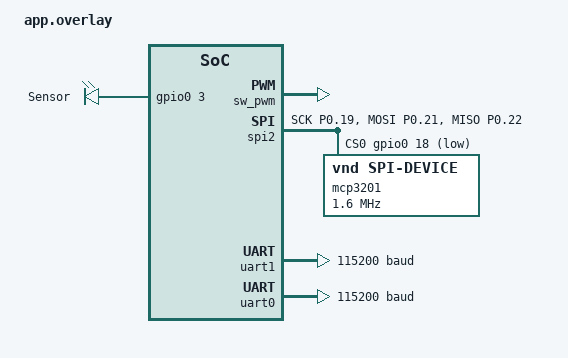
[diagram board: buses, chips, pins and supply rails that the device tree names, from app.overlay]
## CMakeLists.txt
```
# SPDX-License-Identifier: Apache-2.0

cmake_minimum_required(VERSION 3.20.0)
find_package(Zephyr REQUIRED HINTS $ENV{ZEPHYR_BASE})
project(threads)

target_sources(app PRIVATE src/pwm.c)
```

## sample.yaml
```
sample:
  name: Blink LED (PWM based)
tests:
  sample.basic.blink_led:
    tags:
      - drivers
      - pwm
    depends_on: pwm
    harness: led
```

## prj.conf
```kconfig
CONFIG_STDOUT_CONSOLE=y
CONFIG_PRINTK=y
CONFIG_PWM=y
CONFIG_LOG=y
CONFIG_LOG_PRINTK=y
CONFIG_LOG_MODE_IMMEDIATE=y
CONFIG_PWM_LOG_LEVEL_DBG=y
CONFIG_GPIO=y
CONFIG_SPI=y
```

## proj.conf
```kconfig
# Increased stack due to settings API usage
CONFIG_SYSTEM_WORKQUEUE_STACK_SIZE=2048

CONFIG_PRINTK=y
CONFIG_HEAP_MEM_POOL_SIZE=256
CONFIG_ASSERT=y
CONFIG_GPIO=y
CONFIG_SHELL=y

CONFIG_TEST=y
CONFIG_TEST_LOGGING_DEFAULTS=n
CONFIG_LOG=y

# Usage:
# `kernel log-level modulename severity`
# e.g.,
#
# kernel log-level bt_hci_core 0
# kernel log-level bt_l2cap 2
# kernel log-level bt_att 4
CONFIG_LOG_RUNTIME_FILTERING=y

# Errno message table. Disable to save ROM.
CONFIG_MINIMAL_LIBC_STRING_ERROR_TABLE=y

### RTT_CONFIG ###
CONFIG_USE_SEGGER_RTT=y
CONFIG_RTT_CONSOLE=y
CONFIG_UART_CONSOLE=y
```

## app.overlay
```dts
&pwm0 {
	status = "disabled";
};

&sw_pwm {
	status = "okay";
	channel-gpios = <&gpio0 4 PWM_POLARITY_NORMAL>; // Changed GPIO pin to 4
};

&pwm_led0 {
	pwms = <&sw_pwm 0 PWM_USEC(25) PWM_POLARITY_NORMAL>;
};

/ {
    aliases {
        sensor0 = &sensor0;
    };

    leds {
        compatible = "gpio-leds";
        sensor0: sensor0 {
            gpios = <&gpio0 3 (GPIO_PULL_DOWN | GPIO_ACTIVE_HIGH)>;
            label = "Sensor";
        };
    };
};


&spi2 {
        status = "okay";
        cs-gpios = <&gpio0 18 GPIO_ACTIVE_LOW>;
        pinctrl-0 = <&spi2_default>;
        pinctrl-1 = <&spi2_sleep>;
        pinctrl-names = "default", "sleep";
        mcp3201: mcp3201@0 {
                compatible = "vnd,spi-device";
                reg = <0>;
                spi-max-frequency = <1600000>;
                label = "mcp3201";
        };
};

&pinctrl {
        spi2_default: spi2_default {
                group1 {
                        psels = <NRF_PSEL(SPIM_SCK, 0, 19)>,
                                <NRF_PSEL(SPIM_MOSI, 0, 21)>,
                                <NRF_PSEL(SPIM_MISO, 0, 22)>;
                };
        };

        spi2_sleep: spi2_sleep {
                group1 {
                        psels = <NRF_PSEL(SPIM_SCK, 0, 19)>,
                                <NRF_PSEL(SPIM_MOSI, 0, 21)>,
                                <NRF_PSEL(SPIM_MISO, 0, 22)>;
                        low-power-enable;
                };
        };
};

&uart1 {
    status = "okay";
    pinctrl-names = "default", "sleep";
    pinctrl-0 = <&uart1_default>;
    pinctrl-1 = <&uart1_sleep>;
    current-speed = <115200>;
};

&uart0 {
    status = "okay";
    current-speed = <115200>;
};
```

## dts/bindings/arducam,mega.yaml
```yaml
description: Arducam Mega camera for microcontrollers

compatible: "arducam,mega"

include: [spi-device.yaml]
```

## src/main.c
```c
/*
 * Copyright (c) 2016 Intel Corporation
 * Copyright (c) 2020 Nordic Semiconductor ASA
 *
 * SPDX-License-Identifier: Apache-2.0
 */

/**
 * @file Sample app to demonstrate PWM.
 */

#include <zephyr/kernel.h>
#include <zephyr/sys/printk.h>
#include <zephyr/device.h>
#include <zephyr/drivers/pwm.h>

#define PERIOD 562 // Period in microseconds

static const struct pwm_dt_spec pwm_led0 = PWM_DT_SPEC_GET(DT_ALIAS(pwm_led0));

void main(void)
{
    const struct device *pwm_dev;

    printk("NEC Signal Generation\n");

    pwm_dev = device_get_binding(pwm_led0.dev->name);
    if (!pwm_dev) {
        printk("Error: PWM device not found\n");
        return;
    }

    while (1) {
        // Send logical '1' (562.5μs high followed by 562.5μs low)
        //pwm_pin_set_usec(pwm_dev, pwm_led0.channel, PERIOD, PERIOD / 4, 0);
        pwm_set_cycles(pwm_dev, pwm_led0.channel, PERIOD, PERIOD / 4, 0);
        k_sleep(K_USEC(562));

        // Send logical '0' (562.5μs high followed by 1687.5μs low)
        //pwm_pin_set_usec(pwm_dev, pwm_led0.channel, PERIOD, 0, 0);
        pwm_set_cycles(pwm_dev, pwm_led0.channel, PERIOD, 0, 0);
        k_sleep(K_USEC(1687));
    }
}
```

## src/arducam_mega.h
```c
/* MIT License */

/* Copyright (c) [year] [fullname] */

/* Permission is hereby granted, free of charge, to any person obtaining a copy */
/* of this software and associated documentation files (the "Software"), to deal */
/* in the Software without restriction, including without limitation the rights */
/* to use, copy, modify, merge, publish, distribute, sublicense, and/or sell */
/* copies of the Software, and to permit persons to whom the Software is */
/* furnished to do so, subject to the following conditions: */

/* The above copyright notice and this permission notice shall be included in all */
/* copies or substantial portions of the Software. */

/* THE SOFTWARE IS PROVIDED "AS IS", WITHOUT WARRANTY OF ANY KIND, EXPRESS OR */
/* IMPLIED, INCLUDING BUT NOT LIMITED TO THE WARRANTIES OF MERCHANTABILITY, */
/* FITNESS FOR A PARTICULAR PURPOSE AND NONINFRINGEMENT. IN NO EVENT SHALL THE */
/* AUTHORS OR COPYRIGHT HOLDERS BE LIABLE FOR ANY CLAIM, DAMAGES OR OTHER */
/* LIABILITY, WHETHER IN AN ACTION OF CONTRACT, TORT OR OTHERWISE, ARISING FROM, */
/* OUT OF OR IN CONNECTION WITH THE SOFTWARE OR THE USE OR OTHER DEALINGS IN THE */
/* SOFTWARE. */

#ifndef __ARDUCAM_MEGA_H__
#define __ARDUCAM_MEGA_H__

#include <zephyr/device.h>
#include <zephyr/drivers/gpio.h>
#include <zephyr/drivers/spi.h>

#define ARDUCHIP_FRAMES     0x01
#define ARDUCHIP_TEST1      0x00 // TEST register
#define ARDUCHIP_FIFO       0x04 // FIFO and I2C control
#define ARDUCHIP_FIFO_2     0x07 // FIFO and I2C control
#define FIFO_CLEAR_MASK     0x80
#define FIFO_CLEAR_ID_MASK  0x01
#define FIFO_START_MASK     0x02
#define FIFO_RDPTR_RST_MASK 0x10
#define FIFO_WRPTR_RST_MASK 0x20

#define ARDUCHIP_TRIG 0x44 // Trigger source
#define VSYNC_MASK    0x01
#define SHUTTER_MASK  0x02
#define CAP_DONE_MASK 0x04

#define FIFO_SIZE1 0x45 // Camera write FIFO size[7:0] for burst to read
#define FIFO_SIZE2 0x46 // Camera write FIFO size[15:8]
#define FIFO_SIZE3 0x47 // Camera write FIFO size[18:16]

#define BURST_FIFO_READ  0x3C // Burst FIFO read operation
#define SINGLE_FIFO_READ 0x3D // Single FIFO read operation

#define BUF_MAX_LENGTH 255

#define CAPRURE_MAX_NUM 0xff

#define CAM_REG_POWER_CONTROL                      0X02
#define CAM_REG_SENSOR_RESET                       0X07
#define CAM_REG_FORMAT                             0X20
#define CAM_REG_CAPTURE_RESOLUTION                 0X21
#define CAM_REG_BRIGHTNESS_CONTROL                 0X22
#define CAM_REG_CONTRAST_CONTROL                   0X23
#define CAM_REG_SATURATION_CONTROL                 0X24
#define CAM_REG_EV_CONTROL                         0X25
#define CAM_REG_WHILEBALANCE_MODE_CONTROL          0X26
#define CAM_REG_COLOR_EFFECT_CONTROL               0X27
#define CAM_REG_SHARPNESS_CONTROL                  0X28
#define CAM_REG_AUTO_FOCUS_CONTROL                 0X29
#define CAM_REG_EXPOSURE_GAIN_WHILEBALANCE_CONTROL 0X2A
#define CAM_REG_MANUAL_GAIN_BIT_9_8                0X2B
#define CAM_REG_MANUAL_GAIN_BIT_7_0                0X2C
#define CAM_REG_MANUAL_EXPOSURE_BIT_19_16          0X2D
#define CAM_REG_MANUAL_EXPOSURE_BIT_15_8           0X2E
#define CAM_REG_MANUAL_EXPOSURE_BIT_7_0            0X2F
#define CAM_REG_SENSOR_ID                          0x40
#define CAM_REG_YEAR_ID                            0x41
#define CAM_REG_MONTH_ID                           0x42
#define CAM_REG_DAY_ID                             0x43
#define CAM_REG_SENSOR_STATE                       0x44
#define CAM_REG_DEBUG_DEVICE_ADDRESS               0X0A
#define CAM_REG_DEBUG_REGISTER_HIGH                0X0B
#define CAM_REG_DEBUG_REGISTER_LOW                 0X0C
#define CAM_REG_DEBUG_REGISTER_VALUE               0X0D

#define CAM_REG_SENSOR_STATE_IDLE (1 << 1)
#define CAM_SENSOR_RESET_ENABLE   (1 << 6)
#define CAM_FORMAT_BASICS         (0 << 0)
#define CAM_SET_CAPTURE_MODE      (0 << 7)
#define CAM_SET_VIDEO_MODE        (1 << 7)

#define SET_WHILEBALANCE 0X02
#define SET_EXPOSURE     0X01
#define SET_GAIN         0X00

#define CAMERA_TYPE_NUMBER 2

#define CAMERA_OV5640 0
#define CAMERA_OV3640 1

#define FORMAT_JPEG 0X01
#define FORMAT_RGB  0X02
#define FORMAT_YUV  0X03

#define RESOLUTION_160X120   (1 << 0)
#define RESOLUTION_320X240   (1 << 1)
#define RESOLUTION_640X480   (1 << 2)
#define RESOLUTION_800X600   (1 << 3)
#define RESOLUTION_1280X720  (1 << 4)
#define RESOLUTION_1280X960  (1 << 5)
#define RESOLUTION_1600X1200 (1 << 6)
#define RESOLUTION_1920X1080 (1 << 7)
#define RESOLUTION_2048X1536 (1 << 8)
#define RESOLUTION_2592X1944 (1 << 9)
#define RESOLUTION_320x320   (1 << 10)
#define RESOLUTION_128x128   (1 << 11)
#define RESOLUTION_96x96     (1 << 12)

#define SPECIAL_NORMAL    (0 << 0)
#define SPECIAL_BLUEISH   (1 << 0)
#define SPECIAL_REDISH    (1 << 1)
#define SPECIAL_BW        (1 << 2)
#define SPECIAL_SEPIA     (1 << 3)
#define SPECIAL_NEGATIVE  (1 << 4)
#define SPECIAL_GREENISH  (1 << 5)
#define SPECIAL_YELLOWISH (1 << 8)

/**
 * @enum CamStatus
 * @brief Camera status
 */
typedef enum {
	CAM_ERR_SUCCESS = 0,      /**<Operation succeeded*/
	CAM_ERR_NO_CALLBACK = -1, /**< No callback function is registered*/
} CamStatus;

/**
 * @enum CAM_IMAGE_MODE
 * @brief Configure camera resolution
 */
typedef enum {
	CAM_IMAGE_MODE_QQVGA = 0x00,   /**<160x120 */
	CAM_IMAGE_MODE_QVGA = 0x01,    /**<320x240*/
	CAM_IMAGE_MODE_VGA = 0x02,     /**<640x480*/
	CAM_IMAGE_MODE_SVGA = 0x03,    /**<800x600*/
	CAM_IMAGE_MODE_HD = 0x04,      /**<1280x720*/
	CAM_IMAGE_MODE_SXGAM = 0x05,   /**<1280x960*/
	CAM_IMAGE_MODE_UXGA = 0x06,    /**<1600x1200*/
	CAM_IMAGE_MODE_FHD = 0x07,     /**<1920x1080*/
	CAM_IMAGE_MODE_QXGA = 0x08,    /**<2048x1536*/
	CAM_IMAGE_MODE_WQXGA2 = 0x09,  /**<2592x1944*/
	CAM_IMAGE_MODE_96X96 = 0x0a,   /**<96x96*/
				       /// @cond
	CAM_IMAGE_MODE_128X128 = 0x0b, /**<128x128*/
	CAM_IMAGE_MODE_320X320 = 0x0c, /**<320x320*/
	CAM_IMAGE_MODE_12 = 0x0d,      /**<Reserve*/
	CAM_IMAGE_MODE_13 = 0x0e,      /**<Reserve*/
	CAM_IMAGE_MODE_14 = 0x0f,      /**<Reserve*/
	CAM_IMAGE_MODE_15 = 0x10,      /**<Reserve*/
				       /// @endcond
} CAM_IMAGE_MODE;

/**
 * @enum CAM_CONTRAST_LEVEL
 * @brief Configure camera contrast level
 */
typedef enum {
	CAM_CONTRAST_LEVEL_MINUS_3 = 6, /**<Level -3 */
	CAM_CONTRAST_LEVEL_MINUS_2 = 4, /**<Level -2 */
	CAM_CONTRAST_LEVEL_MINUS_1 = 2, /**<Level -1 */
	CAM_CONTRAST_LEVEL_DEFAULT = 0, /**<Level Default*/
	CAM_CONTRAST_LEVEL_1 = 1,       /**<Level +1 */
	CAM_CONTRAST_LEVEL_2 = 3,       /**<Level +2 */
	CAM_CONTRAST_LEVEL_3 = 5,       /**<Level +3 */
} CAM_CONTRAST_LEVEL;

/**
 * @enum CAM_EV_LEVEL
 * @brief Configure camera EV level
 */
typedef enum {
	CAM_EV_LEVEL_MINUS_3 = 6, /**<Level -3 */
	CAM_EV_LEVEL_MINUS_2 = 4, /**<Level -2 */
	CAM_EV_LEVEL_MINUS_1 = 2, /**<Level -1 */
	CAM_EV_LEVEL_DEFAULT = 0, /**<Level Default*/
	CAM_EV_LEVEL_1 = 1,       /**<Level +1 */
	CAM_EV_LEVEL_2 = 3,       /**<Level +2 */
	CAM_EV_LEVEL_3 = 5,       /**<Level +3 */
} CAM_EV_LEVEL;

/**
 * @enum CAM_SATURATION_LEVEL
 * @brief Configure camera saturation  level
 */
typedef enum {
	CAM_SATURATION_LEVEL_MINUS_3 = 6, /**<Level -3 */
	CAM_SATURATION_LEVEL_MINUS_2 = 4, /**<Level -2 */
	CAM_SATURATION_LEVEL_MINUS_1 = 2, /**<Level -1 */
	CAM_SATURATION_LEVEL_DEFAULT = 0, /**<Level Default*/
	CAM_SATURATION_LEVEL_1 = 1,       /**<Level +1 */
	CAM_SATURATION_LEVEL_2 = 3,       /**<Level +2 */
	CAM_SATURATION_LEVEL_3 = 5,       /**<Level +3 */
} CAM_SATURATION_LEVEL;

/**
 * @enum CAM_BRIGHTNESS_LEVEL
 * @brief Configure camera brightness level
 */
typedef enum {
	CAM_BRIGHTNESS_LEVEL_MINUS_4 = 8, /**<Level -4 */
	CAM_BRIGHTNESS_LEVEL_MINUS_3 = 6, /**<Level -3 */
	CAM_BRIGHTNESS_LEVEL_MINUS_2 = 4, /**<Level -2 */
	CAM_BRIGHTNESS_LEVEL_MINUS_1 = 2, /**<Level -1 */
	CAM_BRIGHTNESS_LEVEL_DEFAULT = 0, /**<Level Default*/
	CAM_BRIGHTNESS_LEVEL_1 = 1,       /**<Level +1 */
	CAM_BRIGHTNESS_LEVEL_2 = 3,       /**<Level +2 */
	CAM_BRIGHTNESS_LEVEL_3 = 5,       /**<Level +3 */
	CAM_BRIGHTNESS_LEVEL_4 = 7,       /**<Level +4 */
} CAM_BRIGHTNESS_LEVEL;

/**
 * @enum CAM_SHARPNESS_LEVEL
 * @brief Configure camera Sharpness level
 */
typedef enum {
	CAM_SHARPNESS_LEVEL_AUTO = 0, /**<Sharpness Auto */
	CAM_SHARPNESS_LEVEL_1,        /**<Sharpness Level 1 */
	CAM_SHARPNESS_LEVEL_2,        /**<Sharpness Level 2 */
	CAM_SHARPNESS_LEVEL_3,        /**<Sharpness Level 3 */
	CAM_SHARPNESS_LEVEL_4,        /**<Sharpness Level 4 */
	CAM_SHARPNESS_LEVEL_5,        /**<Sharpness Level 5 */
	CAM_SHARPNESS_LEVEL_6,        /**<Sharpness Level 6 */
	CAM_SHARPNESS_LEVEL_7,        /**<Sharpness Level 7 */
	CAM_SHARPNESS_LEVEL_8,        /**<Sharpness Level 8 */
} CAM_SHARPNESS_LEVEL;

/**
 * @enum CAM_VIDEO_MODE
 * @brief Configure resolution in video streaming mode
 */
typedef enum {
	CAM_VIDEO_MODE_0 = 1, /**< 320x240 */
	CAM_VIDEO_MODE_1 = 2, /**< 640x480 */
} CAM_VIDEO_MODE;

/**
 * @enum CAM_IMAGE_PIX_FMT
 * @brief Configure image pixel format
 */
typedef enum {
	CAM_IMAGE_PIX_FMT_RGB565 = 0x02, /**< RGB565 format */
	CAM_IMAGE_PIX_FMT_JPG = 0x01,    /**< JPEG format */
	CAM_IMAGE_PIX_FMT_YUV = 0x03,    /**< YUV format */
	CAM_IMAGE_PIX_FMT_NONE,          /**< No defined format */
} CAM_IMAGE_PIX_FMT;

/**
 * @enum CAM_WHITE_BALANCE
 * @brief Configure white balance mode
 */
typedef enum {
	CAM_WHITE_BALANCE_MODE_DEFAULT = 0, /**< Auto */
	CAM_WHITE_BALANCE_MODE_SUNNY,       /**< Sunny */
	CAM_WHITE_BALANCE_MODE_OFFICE,      /**< Office */
	CAM_WHITE_BALANCE_MODE_CLOUDY,      /**< Cloudy*/
	CAM_WHITE_BALANCE_MODE_HOME,        /**< Home */
} CAM_WHITE_BALANCE;

/**
 * @enum CAM_COLOR_FX
 * @brief Configure special effects
 */
typedef enum {
	CAM_COLOR_FX_NONE = 0,      /**< no effect   */
	CAM_COLOR_FX_BLUEISH,       /**< cool light   */
	CAM_COLOR_FX_REDISH,        /**< warm   */
	CAM_COLOR_FX_BW,            /**< Black/white   */
	CAM_COLOR_FX_SEPIA,         /**<Sepia   */
	CAM_COLOR_FX_NEGATIVE,      /**<positive/negative inversion  */
	CAM_COLOR_FX_GRASS_GREEN,   /**<Grass green */
	CAM_COLOR_FX_OVER_EXPOSURE, /**<Over exposure*/
	CAM_COLOR_FX_SOLARIZE,      /**< Solarize   */
	CAM_COLOR_FX_YELLOWISH,
} CAM_COLOR_FX;

/**
 * @enum CAM_AUTO_FOCUS
 * @brief Configure auto focus mode
 */
typedef enum {
	CAM_AUTO_FOCUS_DEFAULT = 0, /**< default configuration; continuous auto focus */
	CAM_AUTO_FOCUS_SINGLE,      /**< single auto focus   */
	CAM_AUTO_FOCUS_CONTINUOUS,  /**< continuous auto focus   */
	CAM_AUTO_FOCUS_PAUSE,       /**< pause continuous auto focus   */
	CAM_AUTO_FOCUS_DISABLE,     /**< disable auto focus  */
} CAM_AUTO_FOCUS;

typedef uint8_t (*BUFFER_CALLBACK)(uint8_t *buffer,
				   uint8_t lenght); /**<Callback function prototype  */

struct camera_info {
	char *cameraId;                 /**<Model of camera module */
	int supportResolution;          /**<Resolution supported by the camera module */
	int supportSpecialEffects;      /**<Special effects supported by the camera module
					 */
	unsigned long exposureValueMax; /**<Maximum exposure time supported by the
					   camera module */
	unsigned int exposureValueMin;  /**<Minimum exposure time supported by the
					   camera module */
	unsigned int gainValueMax;      /**<Maximum gain supported by the camera module */
	unsigned int gainValueMin;      /**<Minimum gain supported by the camera module */
	unsigned char supportFocus;     /**<Does the camera module support the focus function */
	unsigned char supportSharpness; /**<Does the camera module support the
					   sharpening function */
	unsigned char deviceAddress;
};

struct arducam_mega_data {
	uint32_t totalLength;            /**< The total length of the picture */
	uint32_t receivedLength;         /**< The remaining length of the picture */
	uint8_t blockSize;               /**< The length of the callback function transmission */
	uint8_t cameraId;                /**< Model of camera module */
	uint8_t cameraDataFormat;        /**< The currently set image pixel format */
	uint8_t burstFirstFlag;          /**< Flag bit for reading data for the first time in
					    burst mode */
	uint8_t previewMode;             /**< Stream mode flag */
	uint8_t currentPixelFormat;      /**< The currently set image pixel format */
	uint8_t currentPictureMode;      /**< Currently set resolution */
	struct camera_info myCameraInfo; /**< Basic information of the current camera */
	const struct CameraOperations *arducamCameraOp; /**< Camera function interface */
	BUFFER_CALLBACK callBackFunction;               /**< Camera callback function */
};

struct arducam_mega_config {
	struct gpio_dt_spec gpio_dt;
	struct spi_dt_spec spi_dt;
	struct spi_config spi_cfg;
	CAM_IMAGE_MODE resolution;
};

int arducam_mega_init();
int arducam_mega_capture_image(CAM_IMAGE_MODE mode, CAM_IMAGE_PIX_FMT pixel_format);
int arducam_mega_save_image(char *filename, const char *mount_point, int image_length);
int arducam_mega_get_id();
CAM_IMAGE_MODE arducam_mega_get_resolution(char *resolution);

CAM_SATURATION_LEVEL arducam_mega_get_saturation(char *saturation);
CAM_CONTRAST_LEVEL arducam_mega_get_contrast(char *contrast);
CAM_BRIGHTNESS_LEVEL arducam_mega_get_brightness(char *brightness);

int arducam_mega_set_saturation(CAM_SATURATION_LEVEL saturation);
int arducam_mega_set_contrast(CAM_CONTRAST_LEVEL contrast);
int arducam_mega_set_brightness(CAM_BRIGHTNESS_LEVEL brightness);
int arducam_mega_set_autofocus(CAM_AUTO_FOCUS autofocus);

#endif /* __ARDUCAM_MEGA_H__ */
```

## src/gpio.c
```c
/*
 * Copyright (c) 2016 Intel Corporation
 *
 * SPDX-License-Identifier: Apache-2.0
 */

#include <stdio.h>
#include <zephyr/kernel.h>
#include <zephyr/drivers/gpio.h>

/* 1000 msec = 1 sec */
#define SLEEP_TIME_MS   1000

/* The devicetree node identifier for the "led0" alias. */
#define LED0_NODE DT_ALIAS(sensor0)

/*
 * A build error on this line means your board is unsupported.
 * See the sample documentation for information on how to fix this.
 */
static const struct gpio_dt_spec led = GPIO_DT_SPEC_GET(LED0_NODE, gpios);

int main(void)
{
	int ret;
	bool led_state = true;

	if (!gpio_is_ready_dt(&led)) {
		return 0;
	}

	ret = gpio_pin_configure_dt(&led, GPIO_OUTPUT_ACTIVE);
	if (ret < 0) {
		return 0;
	}

	while (1) {

        gpio_pin_set_dt(&led, 1);
        k_usleep(1);  // 562.2 µs burst
        //k_msleep(1);
        gpio_pin_set_dt(&led, 0);
        //k_msleep(1);
        k_usleep(1); // 1.687 ms low period
        //k_sleep(K_SECONDS(1));

	}
	return 0;
}
```

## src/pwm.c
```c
/*
 * Copyright (c) 2016 Intel Corporation
 * Copyright (c) 2020 Nordic Semiconductor ASA
 *
 * SPDX-License-Identifier: Apache-2.0
 */

/**
 * @file Sample app to demonstrate PWM.
 */

#include <zephyr/kernel.h>
#include <zephyr/sys/printk.h>
#include <zephyr/device.h>
#include <zephyr/drivers/pwm.h>
#include <zephyr/drivers/gpio.h>

static const struct pwm_dt_spec pwm_led0 = PWM_DT_SPEC_GET(DT_ALIAS(pwm_led0));

/* 1000 msec = 1 sec */
#define SLEEP_TIME_MS   1000

/* The devicetree node identifier for the "led0" alias. */
#define LED0_NODE DT_ALIAS(sensor0)

/*
 * A build error on this line means your board is unsupported.
 * See the sample documentation for information on how to fix this.
 */
static const struct gpio_dt_spec led = GPIO_DT_SPEC_GET(LED0_NODE, gpios);

#define NANOSECPERIOD 25000U

#define BIG_PERIOD 2000000U

int main(void)
{

	if (!pwm_is_ready_dt(&pwm_led0)) {
		return 0;
	}

	int ret;
	bool led_state = true;

	if (!gpio_is_ready_dt(&led)) {
		return 0;
	}

	ret = gpio_pin_configure_dt(&led, GPIO_OUTPUT_ACTIVE);
	if (ret < 0) {
		return 0;
	}

	pwm_set_dt(&pwm_led0, NANOSECPERIOD, NANOSECPERIOD / 4U);
	/*
	// Restore PWM pulse width to its original value
	pwm_set_dt(&pwm_led0, NANOSECPERIOD, NANOSECPERIOD / 4U);

	// Delay for 9ms
	k_sleep(K_USEC(9000));

	// Turn off PWM by setting pulse width to zero
	pwm_set_pulse_dt(&pwm_led0, 0);

	// Delay for 4.5ms
	k_sleep(K_USEC(4500));
	*/


	while (1) {


        gpio_pin_set_dt(&led, 1);
        k_usleep(1);  // 562.2 µs burst
        //k_msleep(1);
        gpio_pin_set_dt(&led, 0);
        //k_msleep(1);
        k_usleep(1); // 1.687 ms low period
        //k_sleep(K_SECONDS(1));
		// Restore PWM pulse width to its original value
		// pwm_set_pulse_dt(&pwm_led0, NANOSECPERIOD / 2);

		// // Delay for 562 microseconds
		// k_sleep(K_USEC(560));

		// // Turn off PWM by setting pulse width to zero
		// pwm_set_pulse_dt(&pwm_led0, 1000);

		// // Delay for 1680 microseconds
		// k_sleep(K_USEC(560));
			
	}

    return 0;
}
```

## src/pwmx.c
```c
/**
 * Simple program to drive LED0 on the nrf5340 evaluation board using the nrfx driver for lower level access
 * Jonas Forssell
 */

#include <stdio.h>
#include <string.h>
#include <zephyr/drivers/pwm.h>
#include <nrfx_pwm.h>
#include <zephyr/kernel.h>


// Use Zephyr macro to get access to the LED0 on the board
#define OUTPUT_PIN DT_GPIO_PIN(DT_ALIAS(led0), gpios)

// Use nrfx to create a PWM instance which we will connect to the LED0 later
static nrfx_pwm_t m_pwm0 = NRFX_PWM_INSTANCE(0);

// Declare variables holding PWM sequence values. In this example only one channel is used 
nrf_pwm_values_individual_t seq_values[] = {0, 0, 0, 0};
nrf_pwm_sequence_t const seq =
{
    .values.p_individual = seq_values,
    .length          = NRF_PWM_VALUES_LENGTH(seq_values),
    .repeats         = 0,
    .end_delay       = 0
};


// Set duty cycle between 0 and 100%
void pwm_update_duty_cycle(uint8_t duty_cycle)
{
    
    // Check if value is outside of range. If so, set to 100%
    if(duty_cycle >= 100)
    {
        seq_values->channel_0 = 100;
    }
    else
    {
        seq_values->channel_0 = duty_cycle;
    }
    
    nrfx_pwm_simple_playback(&m_pwm0, &seq, 1, NRFX_PWM_FLAG_LOOP);
}

static void pwm_init(void)
{
    nrfx_pwm_config_t const config0 =
    {
        .output_pins =
        {
            OUTPUT_PIN,                        // channel 0 now connected to LED0
            NRFX_PWM_PIN_NOT_USED,             // channel 1
            NRFX_PWM_PIN_NOT_USED,             // channel 2
            NRFX_PWM_PIN_NOT_USED,             // channel 3
        },
        .irq_priority = NRFX_PWM_DEFAULT_CONFIG_IRQ_PRIORITY,
        .base_clock   = NRF_PWM_CLK_1MHz,
        .count_mode   = NRF_PWM_MODE_UP,
        .top_value    = 100,
        .load_mode    = NRF_PWM_LOAD_INDIVIDUAL,
        .step_mode    = NRF_PWM_STEP_AUTO
    };
    // Init PWM without error handler
    nrfx_pwm_init(&m_pwm0, &config0, NULL, NULL);
    
}


int main(void)
{

    // Start clock for accurate frequencies
    NRF_CLOCK->TASKS_HFCLKSTART = 1; 
    // Wait for clock to start
    while(NRF_CLOCK->EVENTS_HFCLKSTARTED == 0) 
        ;
    
    pwm_init();

    for (;;)
    {
        for(int i = 0; i <= 100; i++)
        {
            k_msleep(10);
            pwm_update_duty_cycle(i);
        }
    }
}
```
